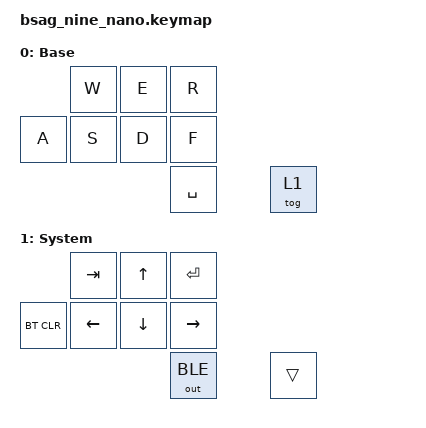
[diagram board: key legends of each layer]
/*
 * Copyright (c) 2020 The ZMK Contributors
 *
 * SPDX-License-Identifier: MIT
 */

#include <behaviors.dtsi>
#include <dt-bindings/zmk/keys.h>
#include <dt-bindings/zmk/bt.h>
#include <dt-bindings/zmk/outputs.h>


//                  0       1       2
//          3       4       5       6
//                                  7       8


/ { 
    behaviors {
        td: tapdance {
            compatible = "zmk,behavior-hold-tap";
            label = "TAPDANCE";
            #binding-cells = <2>;
            tapping-term-ms = <190>;
            quick-tap-ms = <250>;
            flavor = "tap-preferred";
            bindings = <&kp>, <&kp>;
        };
    };

    keymap {
        compatible = "zmk,keymap";
        
        base {
            label = "Base";
            bindings = <
                    &kp W  &kp E  &kp R
             &kp A  &kp S  &kp D  &kp F
                                     &kp SPACE  &tog 1
            >;
        };
        
        system {
            label = "System";
            bindings = <
                        &kp TAB   &kp UP    &kp RET
             &bt BT_CLR &kp LEFT  &kp DOWN  &kp RIGHT
                                     &out OUT_BLE  &trans
            
            >;
        };
    };
};
